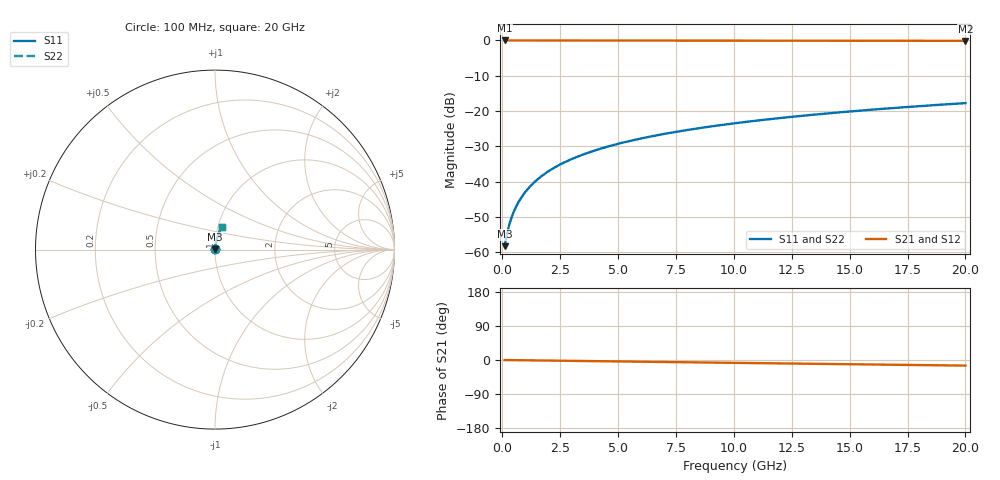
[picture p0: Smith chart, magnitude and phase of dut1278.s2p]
! Touchstone file exported from HFSS 2026.1.0
!  File:  C:/ffzhzh/LocalFiles/Ansys_Project_Files/temp_train_BSMRDL_1278_1783177807_43440.aedt
!  Generated:  11:11:17 PM Jul  4, 2026
!  Design:  BSMRDL
!  Project:  temp_train_BSMRDL_1278_1783177807_43440
! Variables:
!  h_bsmrdl = 4.68um
!  h_ox = 20um
!  h_rdl = 5um
!  h_sub = 80um
!  h_tmrdl = 5um
!  h_tsv = 80um
!  h_via = 3um
!  l_bsmrdl = 203.14um
!  l_sub = 603.14um
!  l_tmrdl = 200um
!  m_sub = 200um
!  pitch = 38.8um
!  r_tsv = 6um
!  s_tmrdl = 10um
!  w_bsmrdl = 19.85um
!  w_sub = 500um
!  w_tmrdl = 12um
!  x_tsv_center1 = 206um
!  x_tsv_center2 = 428.99um
!  x_tsv_center3 = 640.99um
!  x_tsv_center4 = 863.98um
!  x_tsv_center5 = 1075.98um
!  x_tsv_center6 = 1298.97um
# GHz S MA R 50.000000
! Terminal data exported
! Port[1] = BSM_RDL1_1_T1
! Port[2] = BSM_RDL1_1_T2
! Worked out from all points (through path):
!   200 points, 100 MHz to 20 GHz, reference 50 ohm
!   highest |S21| = -0.01 dB at 100 MHz (marker M1); lowest = -0.1 dB at 20 GHz (marker M2)
!   group delay of S21, straight-line fit = 2.05 ps
!   lowest |S11| = -58.3 dB at 100 MHz (marker M3), VSWR 1.00, Z = 50.1 + j0.0777 ohm
!   |S11| at or under -10 dB: start of sweep to end of sweep
!   |S22| runs from -58.3 to -17.8 dB; largest |S21 - S12| = 3.5e-15
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0.1  0.001216 39.6  0.9991 -0.1  0.9991 -0.1  0.001216 39.6
! Gamma 0 0 0 0
! Port Impedance 50 0 50 0
0.2  0.001809 56.6  0.999 -0.2  0.999 -0.2  0.001809 56.6
0.3  0.002451 64.6  0.999 -0.2  0.999 -0.2  0.002451 64.6
0.4  0.003105 69.4  0.9989 -0.3  0.9989 -0.3  0.003105 69.4
0.5  0.003767 72.6  0.9989 -0.4  0.9989 -0.4  0.003767 72.6
0.6  0.004436 74.8  0.9989 -0.5  0.9989 -0.5  0.004436 74.8
0.8  0.00579 77.8  0.9988 -0.6  0.9988 -0.6  0.00579 77.8
1.1  0.007844 80.3  0.9988 -0.8  0.9988 -0.8  0.007844 80.3
1.5  0.0106 81.9  0.9987 -1.2  0.9987 -1.2  0.0106 81.9
1.8  0.01266 82.6  0.9986 -1.4  0.9986 -1.4  0.01266 82.6
2.1  0.01473 82.9  0.9985 -1.6  0.9985 -1.6  0.01473 82.9
2.7  0.01883 83.2  0.9983 -2.1  0.9983 -2.1  0.01883 83.2
3.5  0.02426 83.1  0.9979 -2.7  0.9979 -2.7  0.02426 83.1
4.2  0.02896 82.9  0.9976 -3.2  0.9976 -3.2  0.02896 82.9
5  0.03428 82.5  0.9972 -3.8  0.9972 -3.8  0.03428 82.5
5.9  0.04022 82.0  0.9967 -4.5  0.9967 -4.5  0.04022 82.0
6.8  0.04611 81.5  0.9962 -5.1  0.9962 -5.1  0.04611 81.5
8.3  0.05584 80.6  0.9954 -6.3  0.9954 -6.3  0.05584 80.6
10.1  0.06742 79.5  0.9943 -7.6  0.9943 -7.6  0.06742 79.5
13.4  0.0884 77.4  0.9921 -10.0  0.9921 -10.0  0.0884 77.4
16.7  0.1091 75.3  0.9896 -12.4  0.9896 -12.4  0.1091 75.3
20  0.1294 73.0  0.9868 -14.8  0.9868 -14.8  0.1294 73.1
